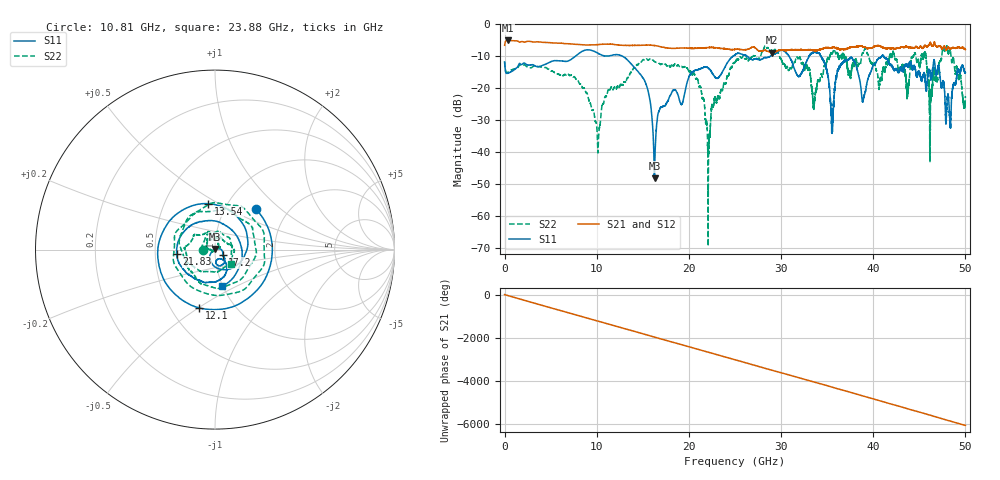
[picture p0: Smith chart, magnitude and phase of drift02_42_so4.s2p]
!Created with skrf (http://scikit-rf.org).
# Hz S RI R 50.0
!freq ReS11 ImS11 ReS21 ImS21 ReS12 ImS12 ReS22 ImS22
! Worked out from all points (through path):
!   10001 points, 300 kHz to 50 GHz, reference 50 ohm
!   highest |S21| = -5.04 dB at 325.3 MHz (marker M1); lowest = -8.9 dB at 28.98 GHz (marker M2)
!   group delay of S21, straight-line fit = 336 ps
!   lowest |S11| = -48.2 dB at 16.27 GHz (marker M3), VSWR 1.01, Z = 49.9 + j0.383 ohm
!   |S11| at or under -10 dB: start of sweep to 7.668 GHz; 12.81 GHz to 24.78 GHz (11.96 GHz wide, 63.6 % of centre); 41.13 GHz to end of sweep (the widest 3 of 11)
!   |S22| runs from -69.5 to -6.7 dB; largest |S21 - S12| = 0.029
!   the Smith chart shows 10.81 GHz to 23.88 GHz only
!   S11 on the Smith chart (normalised r, x): 10.81 GHz: 1.38, +0.70; 12.1 GHz: 0.69, -0.50; 13.54 GHz: 0.82, +0.45; 17.2 GHz: 1.09, -0.07; 21.83 GHz: 0.65, -0.03; 23.88 GHz: 0.99, -0.42
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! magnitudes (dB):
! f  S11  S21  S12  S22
! 300 kHz  -11.8  -6.5  -6.5  -11.7
! 325.3 MHz  -15.3  -5.0  -5.0  -15.1
! 8.335 GHz  -8.6  -6.4  -6.4  -19.1
! 10.11 GHz  -9.0  -6.3  -6.3  -38.7
! 10.81 GHz  -9.9  -6.2  -6.2  -23.6
! 12.1 GHz  -9.5  -6.4  -6.4  -20.4
! 13.54 GHz  -11.8  -6.6  -6.6  -16.0
! 16.27 GHz  -48.2  -6.6  -6.6  -11.7
! 16.67 GHz  -27.8  -6.8  -6.8  -12.2
! 17.2 GHz  -25.7  -7.2  -7.2  -12.7
! 21.83 GHz  -13.4  -7.3  -7.3  -30.3
! 23.88 GHz  -13.6  -7.6  -7.6  -18.4
! 25 GHz  -9.6  -7.9  -7.9  -11.9
! 28.98 GHz  -9.8  -8.9  -8.9  -8.0
! 33.34 GHz  -9.0  -8.0  -8.0  -20.4
! 35.54 GHz  -34.2  -7.3  -7.3  -9.1
! 36.8 GHz  -11.8  -7.8  -7.7  -10.4
! 41.67 GHz  -12.0  -7.4  -7.5  -12.0
! 45.5 GHz  -15.5  -6.9  -6.9  -9.2
! 46.25 GHz  -17.5  -6.1  -6.1  -22.0
! 48.13 GHz  -22.0  -7.2  -7.1  -9.2
! 50 GHz  -15.2  -7.9  -7.9  -22.9
